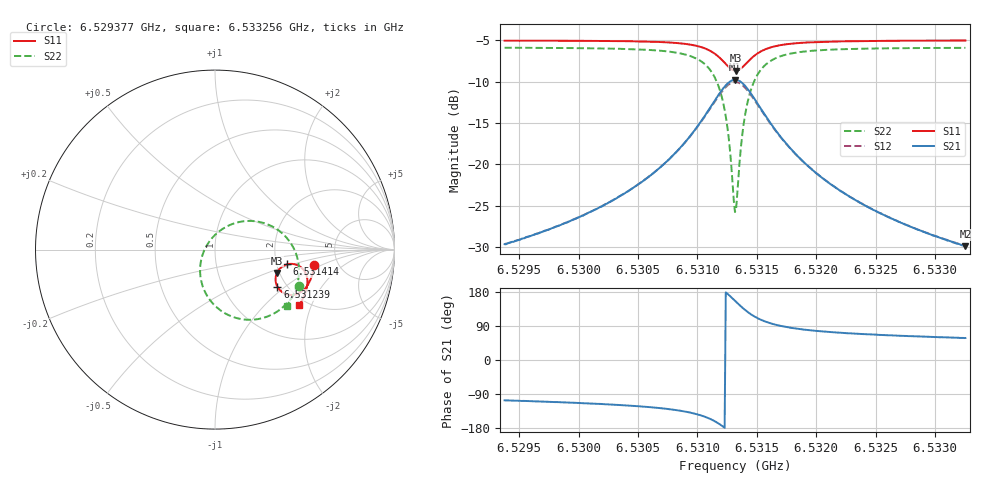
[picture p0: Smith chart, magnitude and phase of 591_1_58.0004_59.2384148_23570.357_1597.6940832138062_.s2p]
#  HZ  S  RI  R  50.00
! Rohde & Schwarz Vector Network Analyzer
! Rohde-Schwarz,ZNB20-2Port,1311601062101988,3.16
! Created: UTC 3/21/2024, 1:16:49 AM
! freq[Hz]  re:S11  im:S11  re:S21  im:S21  re:S12  im:S12  re:S22  im:S22
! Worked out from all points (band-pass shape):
!   401 points, 6.529377 GHz to 6.533256 GHz, reference 50 ohm
!   highest |S21| = -9.76 dB at 6.531317 GHz (marker M1); lowest = -29.9 dB at 6.533256 GHz (marker M2)
!   |S21| within 3 dB of the highest: 6.531124 GHz to 6.531512 GHz (387.7 kHz wide, 0.00594 % of centre)
!   lowest |S11| = -8.7 dB at 6.531326 GHz (marker M3), VSWR 2.17, Z = 96.8 - j29.2 ohm
!   |S11| at or under -10 dB: nowhere
!   |S22| runs from -25.8 to -5.9 dB; largest |S21 - S12| = 0.013
!   S11 on the Smith chart (normalised r, x): 6.529377 GHz: 3.33, -0.83; 6.531239 GHz: 1.79, -0.89; 6.531414 GHz: 2.28, -0.45; 6.533256 GHz: 1.83, -1.64
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6.5293773e9  0.5541 -0.0853  -0.00938 -0.0316  -0.01 -0.0314  0.4661 -0.2019
6.530027e9  0.5416 -0.1399  -0.0199 -0.0447  -0.0208 -0.0443  0.4316 -0.2621
6.5303858e9  0.5289 -0.1739  -0.033 -0.058  -0.0345 -0.0572  0.3966 -0.304
6.5306767e9  0.5105 -0.2059  -0.0565 -0.0759  -0.0588 -0.0741  0.3434 -0.3472
6.5309094e9  0.4798 -0.236  -0.1021 -0.0957  -0.1049 -0.0919  0.252 -0.3847
6.5310742e9  0.4312 -0.2528  -0.1774 -0.0979  -0.1792 -0.0904  0.1152 -0.3801
6.5311712e9  0.3828 -0.242  -0.2516 -0.0623  -0.2494 -0.0518  -0.00657 -0.3063
6.531239e9  0.348 -0.2074  -0.301 0.0078  -0.293 0.0178  -0.0755 -0.18
6.5312681e9  0.3393 -0.1837  -0.3105 0.0512  -0.3003 0.0594  -0.0832 -0.1065
6.5313069e9  0.3391 -0.148  -0.3034 0.115  -0.2913 0.1191  -0.0597 -0.00373
6.5313166e9  0.3415 -0.139  -0.2976 0.1306  -0.2855 0.1337  -0.0473 0.0205
6.5313263e9  0.3448 -0.1303  -0.2904 0.1456  -0.2782 0.1475  -0.0328 0.0434
6.531336e9  0.3491 -0.1221  -0.2818 0.1595  -0.2698 0.1605  -0.0162 0.0647
6.5313748e9  0.3729 -0.0958  -0.2362 0.204  -0.2264 0.2016  0.0659 0.1291
6.5314136e9  0.402 -0.082  -0.1836 0.2269  -0.1766 0.2229  0.1562 0.1575
6.5314815e9  0.4482 -0.0827  -0.1036 0.2264  -0.1001 0.2227  0.2898 0.1419
6.5315784e9  0.4878 -0.1067  -0.036 0.191  -0.0344 0.189  0.3983 0.0671
6.5317239e9  0.5101 -0.1445  0.00364 0.1401  0.00494 0.1393  0.4556 -0.035
6.5319663e9  0.515 -0.189  0.0195 0.091  0.0206 0.0905  0.4676 -0.1367
6.5322669e9  0.5083 -0.2259  0.0216 0.0611  0.0224 0.0609  0.455 -0.2049
6.532616e9  0.4962 -0.2588  0.0201 0.0434  0.0208 0.0431  0.4358 -0.2534
6.5332559e9  0.4708 -0.3073  0.0169 0.0272  0.0177 0.027  0.4005 -0.3115
